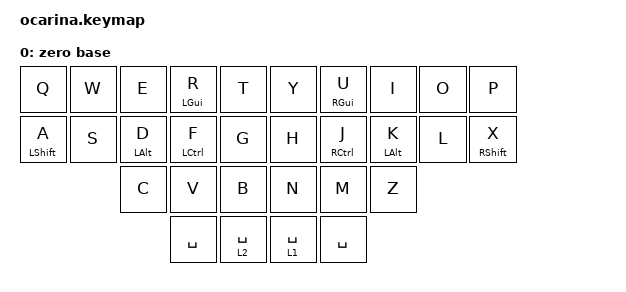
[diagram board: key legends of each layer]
#include <behaviors.dtsi>
#include <dt-bindings/zmk/keys.h>
#include <dt-bindings/zmk/bt.h>

#define ZMK_POINTING_DEFAULT_MOVE_VAL 1200  // default: 600

#include <dt-bindings/zmk/pointing.h>

#define AS(keycode) &as LS(keycode) keycode   

/ {
	behaviors {
		td0: tap_dance_0 {
			compatible = "zmk,behavior-tap-dance";
			#binding-cells = <0>;
			tapping-term-ms = <225>;
			bindings = <&kp LPAR>, <&kp RPAR>;
		};
		td1: tap_dance_1 {
			compatible = "zmk,behavior-tap-dance";
			#binding-cells = <0>;
			tapping-term-ms = <225>;
			bindings = <&kp LBRC>,<&kp RBRC>;
		};
		td2: tap_dance_2 {
			compatible = "zmk,behavior-tap-dance";
			#binding-cells = <0>;
			tapping-term-ms = <225>;
			bindings = <&kp LBKT>,<&kp RBKT>;
		};
		td3: tap_dance_3 {
			compatible = "zmk,behavior-tap-dance";
			#binding-cells = <0>;
			tapping-term-ms = <225>;
			bindings = <&kp TAB>,<&kp ESC>;
		};
		td4: tap_dance_4 {
			compatible = "zmk,behavior-tap-dance";
			#binding-cells = <0>;
			tapping-term-ms = <225>;
			bindings = <&kp C>,<&kp X>;
		};
		td5: tap_dance_5 {
			compatible = "zmk,behavior-tap-dance";
			#binding-cells = <0>;
			tapping-term-ms = <225>;
			bindings = <&kp F>,<&kp G>;
		};
		fmt: fast_mod_tap {
            		compatible = "zmk,behavior-hold-tap";
            		#binding-cells = <2>;
            		flavor = "hold-preferred";
            		tapping-term-ms = <125>;
            		bindings = <&kp>, <&kp>;
            		display-name = "Fast Mod-Tap";
        	};
		hml: home_row_mod_left {
            		compatible = "zmk,behavior-hold-tap";
            		#binding-cells = <2>;
            		flavor = "balanced";
            		require-prior-idle-ms = <100>;
            		tapping-term-ms = <250>;
            		quick-tap-ms = <175>;
            		bindings = <&kp>, <&kp>;
            		hold-trigger-key-positions = <3 4 5 10 11 12 13 16 17 19>; // List of keys on the right
            		hold-trigger-on-release;
        	};
        	hmr: home_row_mod_right {
            		compatible = "zmk,behavior-hold-tap";
            		#binding-cells = <2>;
            		flavor = "balanced";
            		require-prior-idle-ms = <100>;
            		tapping-term-ms = <250>;
            		quick-tap-ms = <175>;
            		bindings = <&kp>, <&kp>;
            		hold-trigger-key-positions = <0 1 2 6 7 8 9 14 15 18>; // List of keys on the left
            		hold-trigger-on-release;
        	};
		as: auto_shift {
            		compatible = "zmk,behavior-hold-tap";
            		#binding-cells = <2>;
            		tapping_term_ms = <175>;
            		quick_tap_ms = <0>;
            		flavor = "tap-preferred";
            		bindings = <&kp>, <&kp>;
        	};
		hw_soft_off: hw_soft_off {
            		compatible = "zmk,behavior-soft-off";
            		#binding-cells = <0>;
            		split-peripheral-off-on-press; // Turn peripheral off immediately for reliability
            		hold-time-ms = <1500>; // Only turn off if the key is held for 1.5 seconds or longer.
        	};
		mt: mod_tap {
            		tapping-term-ms = <250>;
        	};
		cmt: caps_mod_tap {
            		compatible = "zmk,behavior-hold-tap";
            		#binding-cells = <2>;
            		flavor = "hold-preferred";
            		tapping-term-ms = <250>;
            		bindings = <&caps_word>, <&none>;
            		display-name = "Caps Mod-Tap";
        	};
	};
	keymap {
		compatible = "zmk,keymap";
		one {
			display-name = "zero base";
			bindings = <
				&kp Q &kp W &kp E &hml LGUI R &kp T &kp Y &hmr RGUI U &kp I &kp O &kp P
				&hml LSHIFT A &kp S &hml LALT D &hml LCTRL F &kp G &kp H &hmr RCTRL J &hmr LALT K &kp L &hmr RSHIFT X
				&kp C &kp V &kp B &kp N &kp M &kp Z
				&kp SPACE &lt 2 SPACE &lt 1 SPACE &kp SPACE
			>;
		};
	};
};

/ {
	combos {
		compatible = "zmk,combos";

// keyboard functions
//		combo_bt_one {
//			timeout-ms = <50>;
//			key-positions = <10 11 12 13>;
//			bindings = <&bt BT_SEL 0>;
//			layers = <0>;
//		};
//		combo_bt_two {
//			timeout-ms = <50>;
//			key-positions = <16 17 18 19>;
//			bindings = <&bt BT_SEL 1>;
//			layers = <0>;
//		};
// mod keys
//		combo_del {
//			timeout-ms = <50>;
//			key-positions = <10 11>;
//			bindings = <&kp DEL>;
//			layers = <0 1 2>;
//		};
//		combo_tab {
//			timeout-ms = <50>;
//			key-positions = <1 3>;
//			bindings = <&kp TAB>;
//		};
//		combo_esc {
//			timeout-ms = <50>;
//			key-positions = <6 8>;
//			bindings = <&kp ESC>;
//		};
//		combo_backspace {
//			timeout-ms = <50>;
//			key-positions = <18 19>;
//			bindings = <&kp BSPC>;
//			layers = <0 1 2>;
//		};
//		combo_enter {
//			timeout-ms = <50>;
//			key-positions = <13 16>;
//			bindings = <&kp ENTER>;
//			layers = <0 1 2>;
//		};
//		combo_capsword {
//			timeout-ms = <50>;
//			key-positions = <10 19>;
//			bindings = <&caps_word>;
//			layers = <0>;
//		};
//
// arrow keys
//		combo_up {
//			timeout-ms = <50>;
//			key-positions = <12 17>;
//			bindings = <&kp UP>;
//		};
//		combo_left {
//			timeout-ms = <50>;
//			key-positions = <11 16>;
//			bindings = <&kp LEFT>;
//		};
//		combo_down {
//			timeout-ms = <50>;
//			key-positions = <22 27>;
//			bindings = <&kp DOWN>;
//		};
//		combo_right {
//			timeout-ms = <50>;
//			key-positions = <13 18>;
//			bindings = <&kp RIGHT>;
//		};
	};
};



